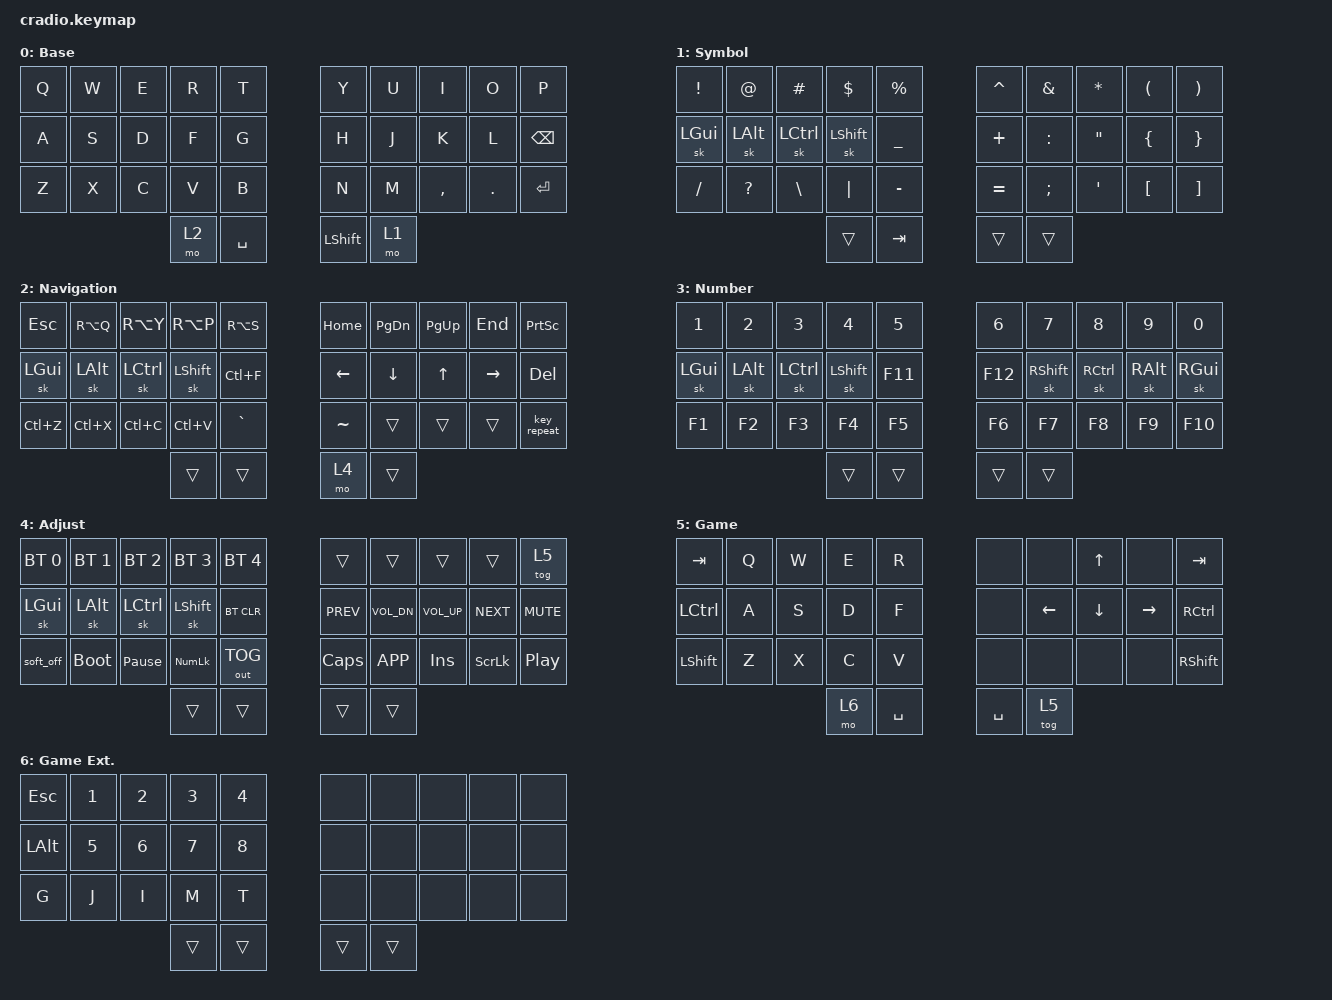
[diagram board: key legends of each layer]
// Copyright (c) 2022 The ZMK Contributors
// SPDX-License-Identifier: MIT

#include <behaviors.dtsi>
#include <dt-bindings/zmk/bt.h>
#include <dt-bindings/zmk/keys.h>
#include <dt-bindings/zmk/outputs.h>

&soft_off { hold-time-ms = <5000>; };

/ {
    conditional_layers {
        compatible = "zmk,conditional-layers";

        num {
            if-layers = <1 2>;
            then-layer = <3>;
        };
    };

    behaviors {
        sk: sticky_key {
            compatible = "zmk,behavior-sticky-key";
            #binding-cells = <1>;
            release-after-ms = <__UINT32_MAX__>;
            bindings = <&kp>;
            ignore-modifiers;
            toggling;
            display-name = "Sticky Key";
        };
    };

    keymap {
        compatible = "zmk,keymap";

        base {
            display-name = "Base";
            bindings = <
&kp Q  &kp W  &kp E  &kp R  &kp T        &kp Y      &kp U  &kp I      &kp O    &kp P
&kp A  &kp S  &kp D  &kp F  &kp G        &kp H      &kp J  &kp K      &kp L    &kp BACKSPACE
&kp Z  &kp X  &kp C  &kp V  &kp B        &kp N      &kp M  &kp COMMA  &kp DOT  &kp ENTER
                     &mo 2  &kp SPACE    &kp LSHFT  &mo 1
            >;
        };

        sym {
            display-name = "Symbol";
            bindings = <
&kp EXCL  &kp AT     &kp HASH   &kp DLLR  &kp PERCENT    &kp CARET  &kp AMPS   &kp STAR  &kp LPAR  &kp RPAR
&sk LGUI  &sk LALT   &sk LCTRL  &sk LSHFT &kp UNDER      &kp PLUS   &kp COLON  &kp DQT   &kp LBRC  &kp RBRC
&kp FSLH  &kp QMARK  &kp BSLH   &kp PIPE  &kp MINUS      &kp EQUAL  &kp SEMI   &kp SQT   &kp LBKT  &kp RBKT
                                &trans    &kp TAB        &trans     &trans
            >;
        };

        nav {
            display-name = "Navigation";
            bindings = <
&kp ESC    &kp RA(Q)  &kp RA(Y)  &kp RA(P)  &kp RA(S)    &kp HOME   &kp PG_DN  &kp PG_UP  &kp END    &kp PSCRN
&sk LGUI   &sk LALT   &sk LCTRL  &sk LSHFT  &kp LC(F)    &kp LEFT   &kp DOWN   &kp UP     &kp RIGHT  &kp DEL
&kp LC(Z)  &kp LC(X)  &kp LC(C)  &kp LC(V)  &kp GRAVE    &kp TILDE  &trans     &trans     &trans     &key_repeat
                                 &trans     &trans       &mo 4      &trans
            >;
        };

        num {
            display-name = "Number";
            bindings = <
&kp N1    &kp N2    &kp N3     &kp N4    &kp N5     &kp N6   &kp N7    &kp N8     &kp N9    &kp N0
&sk LGUI  &sk LALT  &sk LCTRL  &sk LSHFT &kp F11    &kp F12  &sk RSHFT &sk RCTRL  &sk RALT  &sk RGUI
&kp F1    &kp F2    &kp F3     &kp F4    &kp F5     &kp F6   &kp F7    &kp F8     &kp F9    &kp F10
                               &trans    &trans     &trans   &trans
            >;
        };

        adj {
            display-name = "Adjust";
            bindings = <
&bt BT_SEL 0  &bt BT_SEL 1  &bt BT_SEL 2     &bt BT_SEL 3  &bt BT_SEL 4    &trans      &trans        &trans        &trans      &tog 5
&sk LGUI      &sk LALT      &sk LCTRL        &sk LSHFT     &bt BT_CLR      &kp C_PREV  &kp C_VOL_DN  &kp C_VOL_UP  &kp C_NEXT  &kp C_MUTE
&soft_off     &bootloader   &kp PAUSE_BREAK  &kp KP_NUM    &out OUT_TOG    &kp CAPS    &kp K_APP     &kp INS       &kp SLCK    &kp C_PP
                                             &trans        &trans          &trans      &trans
            >;
        };

        game {
            display-name = "Game";
            bindings = <
&kp TAB    &kp Q  &kp W  &kp E  &kp R        &none      &none     &kp UP    &none      &kp TAB
&kp LCTRL  &kp A  &kp S  &kp D  &kp F        &none      &kp LEFT  &kp DOWN  &kp RIGHT  &kp RCTRL
&kp LSHFT  &kp Z  &kp X  &kp C  &kp V        &none      &none     &none     &none      &kp RSHFT
                         &mo 6  &kp SPACE    &kp SPACE  &tog 5
            >;
        };

        game_ext {
            display-name = "Game Ext.";
            bindings = <
&kp ESC   &kp N1  &kp N2  &kp N3  &kp N4    &none   &none   &none  &none  &none
&kp LALT  &kp N5  &kp N6  &kp N7  &kp N8    &none   &none   &none  &none  &none
&kp G     &kp J   &kp I   &kp M   &kp T     &none   &none   &none  &none  &none
                          &trans  &trans    &trans  &trans
            >;
        };
    };
};
